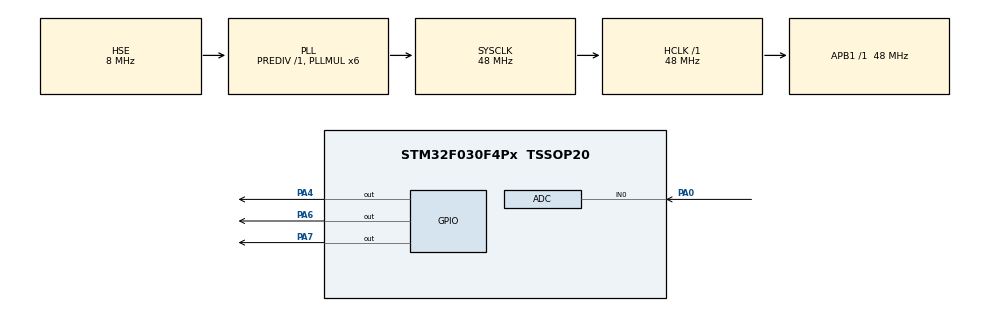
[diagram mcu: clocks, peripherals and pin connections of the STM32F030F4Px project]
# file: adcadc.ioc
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ADC.ContinuousConvMode=ENABLE
ADC.SamplingTime=ADC_SAMPLETIME_239CYCLES_5
Mcu.Family=STM32F0
Mcu.Name=STM32F030F4Px
Mcu.Package=TSSOP20
PA0.Mode=IN0
PA0.Signal=ADC_IN0
PA4.Signal=GPIO_Output
PA6.Signal=GPIO_Output
PA7.Signal=GPIO_Output
PF0-OSC_IN.Mode=HSE-External-Oscillator
PF0-OSC_IN.Signal=RCC_OSC_IN
PF1-OSC_OUT.Mode=HSE-External-Oscillator
PF1-OSC_OUT.Signal=RCC_OSC_OUT
ProjectManager.HeapSize=0x200
ProjectManager.StackSize=0x400
ProjectManager.TargetToolchain=STM32CubeIDE
RCC.AHBFreq_Value=48000000
RCC.APB1Freq_Value=48000000
RCC.APB1TimFreq_Value=48000000
RCC.HCLKFreq_Value=48000000
RCC.PLLMUL=RCC_PLL_MUL6
RCC.PLLSourceVirtual=RCC_PLLSOURCE_HSE
RCC.SYSCLKFreq_VALUE=48000000
RCC.SYSCLKSource=RCC_SYSCLKSOURCE_PLLCLK
board=custom

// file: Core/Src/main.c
/* USER CODE BEGIN Header */
/**
  ******************************************************************************
  * @file           : main.c
  * @brief          : Main program body
  ******************************************************************************
  * @attention
  *
  * <h2><center>&copy; Copyright (c) 2021 STMicroelectronics.
  * All rights reserved.</center></h2>
  *
  * This software component is licensed by ST under BSD 3-Clause license,
  * the "License"; You may not use this file except in compliance with the
  * License. You may obtain a copy of the License at:
  *                        opensource.org/licenses/BSD-3-Clause
  *
  ******************************************************************************
  */
/* USER CODE END Header */
#include "main.h"

ADC_HandleTypeDef hadc;

/* USER CODE BEGIN PV */
uint32_t value;
float voltage;
float temperature;
/* USER CODE END PV */

void SystemClock_Config(void);
static void MX_GPIO_Init(void);
static void MX_ADC_Init(void);

int main(void)
{

  /* MCU Configuration--------------------------------------------------------*/

  /* Reset of all peripherals, Initializes the Flash interface and the Systick. */
  HAL_Init();

  /* Configure the system clock */
  SystemClock_Config();

  /* Initialize all configured peripherals */
  MX_GPIO_Init();
  MX_ADC_Init();
  /* USER CODE BEGIN 2 */
  HAL_ADC_Start(&hadc); // ADC conversation start
  /* USER CODE END 2 */

  /* Infinite loop */
  /* USER CODE BEGIN WHILE */
  while (1)
  {
	  	  HAL_ADC_PollForConversion(&hadc, 1000); // Wait for conversion to end
	 	  value = HAL_ADC_GetValue(&hadc);		  // Get value
	 	  voltage = ((value/4096)*5);			  // ADC is 12 bit, output voltage is 5 V
	 	  temperature = voltage*100;			  // Temperature in Celcius
	 	  if(temperature>28){
	 		 HAL_GPIO_WritePin(GPIOA, GPIO_PIN_6, GPIO_PIN_SET); // When temperature is bigger than 28 rotate motor
	 		 HAL_GPIO_WritePin(GPIOA, GPIO_PIN_4, GPIO_PIN_SET); // Led indicator
	 	  }else if(temperature<23){
	 		 HAL_GPIO_WritePin(GPIOA, GPIO_PIN_7, GPIO_PIN_SET); // When temperature is lower than 23 rotate motor
	 		 HAL_GPIO_WritePin(GPIOA, GPIO_PIN_4, GPIO_PIN_SET); // Led indicator
	 	  }else{												 // Reset pins otherwise
	 		 HAL_GPIO_WritePin(GPIOA, GPIO_PIN_6, GPIO_PIN_RESET);
	 		 HAL_GPIO_WritePin(GPIOA, GPIO_PIN_7, GPIO_PIN_RESET);
	 		 HAL_GPIO_WritePin(GPIOA, GPIO_PIN_4, GPIO_PIN_RESET);
	 	  }

    /* USER CODE END WHILE */

  }
}

void SystemClock_Config(void)
{
  RCC_OscInitTypeDef RCC_OscInitStruct = {0};
  RCC_ClkInitTypeDef RCC_ClkInitStruct = {0};

  /** Initializes the RCC Oscillators according to the specified parameters
  * in the RCC_OscInitTypeDef structure.
  */
  RCC_OscInitStruct.OscillatorType = RCC_OSCILLATORTYPE_HSI14|RCC_OSCILLATORTYPE_HSE;
  RCC_OscInitStruct.HSEState = RCC_HSE_ON;
  RCC_OscInitStruct.HSI14State = RCC_HSI14_ON;
  RCC_OscInitStruct.HSI14CalibrationValue = 16;
  RCC_OscInitStruct.PLL.PLLState = RCC_PLL_ON;
  RCC_OscInitStruct.PLL.PLLSource = RCC_PLLSOURCE_HSE;
  RCC_OscInitStruct.PLL.PLLMUL = RCC_PLL_MUL6;
  RCC_OscInitStruct.PLL.PREDIV = RCC_PREDIV_DIV1;
  if (HAL_RCC_OscConfig(&RCC_OscInitStruct) != HAL_OK)
  {
    Error_Handler();
  }
  /** Initializes the CPU, AHB and APB buses clocks
  */
  RCC_ClkInitStruct.ClockType = RCC_CLOCKTYPE_HCLK|RCC_CLOCKTYPE_SYSCLK
                              |RCC_CLOCKTYPE_PCLK1;
  RCC_ClkInitStruct.SYSCLKSource = RCC_SYSCLKSOURCE_PLLCLK;
  RCC_ClkInitStruct.AHBCLKDivider = RCC_SYSCLK_DIV1;
  RCC_ClkInitStruct.APB1CLKDivider = RCC_HCLK_DIV1;

  if (HAL_RCC_ClockConfig(&RCC_ClkInitStruct, FLASH_LATENCY_1) != HAL_OK)
  {
    Error_Handler();
  }
}

static void MX_ADC_Init(void)
{

  ADC_ChannelConfTypeDef sConfig = {0};

  /** Configure the global features of the ADC (Clock, Resolution, Data Alignment and number of conversion)
  */
  hadc.Instance = ADC1;
  hadc.Init.ClockPrescaler = ADC_CLOCK_ASYNC_DIV1;
  hadc.Init.Resolution = ADC_RESOLUTION_12B;
  hadc.Init.DataAlign = ADC_DATAALIGN_RIGHT;
  hadc.Init.ScanConvMode = ADC_SCAN_DIRECTION_FORWARD;
  hadc.Init.EOCSelection = ADC_EOC_SINGLE_CONV;
  hadc.Init.LowPowerAutoWait = DISABLE;
  hadc.Init.LowPowerAutoPowerOff = DISABLE;
  hadc.Init.ContinuousConvMode = ENABLE;
  hadc.Init.DiscontinuousConvMode = DISABLE;
  hadc.Init.ExternalTrigConv = ADC_SOFTWARE_START;
  hadc.Init.ExternalTrigConvEdge = ADC_EXTERNALTRIGCONVEDGE_NONE;
  hadc.Init.DMAContinuousRequests = DISABLE;
  hadc.Init.Overrun = ADC_OVR_DATA_PRESERVED;
  if (HAL_ADC_Init(&hadc) != HAL_OK)
  {
    Error_Handler();
  }
  /** Configure for the selected ADC regular channel to be converted.
  */
  sConfig.Channel = ADC_CHANNEL_0;
  sConfig.Rank = ADC_RANK_CHANNEL_NUMBER;
  sConfig.SamplingTime = ADC_SAMPLETIME_239CYCLES_5;
  if (HAL_ADC_ConfigChannel(&hadc, &sConfig) != HAL_OK)
  {
    Error_Handler();
  }

}

static void MX_GPIO_Init(void)
{
  GPIO_InitTypeDef GPIO_InitStruct = {0};

  /* GPIO Ports Clock Enable */
  __HAL_RCC_GPIOF_CLK_ENABLE();
  __HAL_RCC_GPIOA_CLK_ENABLE();

  /*Configure GPIO pin Output Level */
  HAL_GPIO_WritePin(GPIOA, GPIO_PIN_4|GPIO_PIN_6|GPIO_PIN_7, GPIO_PIN_RESET);

  /*Configure GPIO pins : PA4 PA6 PA7 */
  GPIO_InitStruct.Pin = GPIO_PIN_4|GPIO_PIN_6|GPIO_PIN_7;
  GPIO_InitStruct.Mode = GPIO_MODE_OUTPUT_PP;
  GPIO_InitStruct.Pull = GPIO_NOPULL;
  GPIO_InitStruct.Speed = GPIO_SPEED_FREQ_LOW;
  HAL_GPIO_Init(GPIOA, &GPIO_InitStruct);

}

void Error_Handler(void)
{
  __disable_irq();
  while (1)
  {
  }
}

/************************ (C) COPYRIGHT STMicroelectronics *****END OF FILE****/
